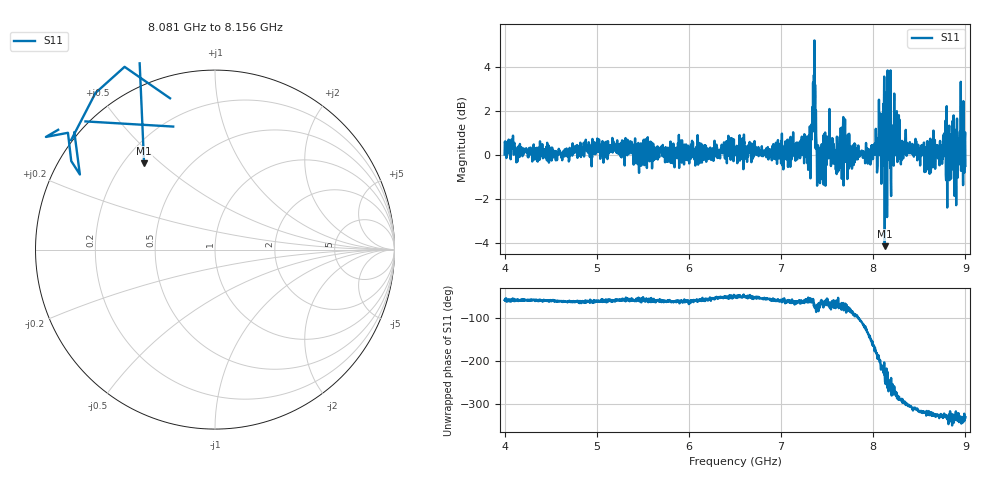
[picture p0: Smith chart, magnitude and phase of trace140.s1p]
! Created with skrf 1.8.0 (http://scikit-rf.org).
# Hz S RI R 50.0
!freq ReS11 ImS11
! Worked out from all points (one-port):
!   1601 points, 4 GHz to 9 GHz, reference 50 ohm
!   lowest |S11| = -4.1 dB at 8.125 GHz (marker M1), VSWR 4.29, Z = 14.1 + j22.1 ohm
!   |S11| at or under -10 dB: nowhere
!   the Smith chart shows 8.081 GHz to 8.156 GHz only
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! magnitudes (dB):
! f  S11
! 4 GHz  0.0
! 4.625 GHz  -0.2
! 5.25 GHz  0.0
! 5.875 GHz  0.1
! 6.5 GHz  0.0
! 7.125 GHz  0.2
! 7.294 GHz  -0.7
! 7.356 GHz  3.6
! 7.4 GHz  0.5
! 7.412 GHz  -0.8
! 7.509 GHz  0.0
! 7.6 GHz  -0.8
! 7.669 GHz  0.8
! 7.75 GHz  0.4
! 7.95 GHz  0.3
! 8.066 GHz  0.8
! 8.097 GHz  1.1
! 8.125 GHz  -4.1
! 8.162 GHz  1.5
! 8.216 GHz  1.2
! 8.253 GHz  0.7
! 8.312 GHz  0.6
! 8.375 GHz  0.5
! 8.588 GHz  0.2
! 8.8 GHz  0.5
! 8.9 GHz  -2.3
! 8.959 GHz  2.3
! 9 GHz  -0.5
